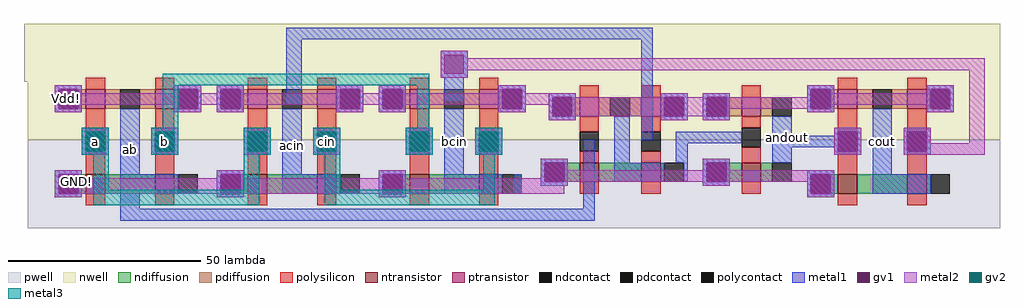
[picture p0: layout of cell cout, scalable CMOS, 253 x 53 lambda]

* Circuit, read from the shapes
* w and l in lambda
.subckt cout GND! Vdd! a ab acin andout b bcin cin
M1 n1 a GND! VSUBS nfet w=5 l=5
M2 ab b n1 VSUBS nfet w=5 l=5
M3 n2 a GND! VSUBS nfet w=5 l=5
M4 acin cin n2 VSUBS nfet w=5 l=5
M5 n3 b GND! VSUBS nfet w=5 l=5
M6 bcin cin n3 VSUBS nfet w=5 l=5
M7 n4 ab GND! VSUBS nfet w=5 l=5
M8 n5 acin n4 VSUBS nfet w=5 l=5
M9 andout n5 GND! VSUBS nfet w=5 l=5
M10 n6 andout GND! VSUBS nfet w=5 l=5
M11 nand2_3/out bcin n6 VSUBS nfet w=5 l=5
M12 ab a Vdd! n7 pfet w=5 l=5
M13 Vdd! b ab n7 pfet w=5 l=5
M14 acin a Vdd! n7 pfet w=5 l=5
M15 Vdd! cin acin n7 pfet w=5 l=5
M16 bcin b Vdd! n7 pfet w=5 l=5
M17 Vdd! cin bcin n7 pfet w=5 l=5
M18 n5 ab Vdd! n7 pfet w=5 l=5
M19 Vdd! acin n5 n7 pfet w=5 l=5
M20 andout n5 Vdd! n7 pfet w=5 l=5
M21 nand2_3/out andout Vdd! n7 pfet w=5 l=5
M22 Vdd! bcin nand2_3/out n7 pfet w=5 l=5
.ends

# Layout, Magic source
magic
tech scmos
<< nwell >>
rect -2 35 251 50
rect -1 24 251 35
rect -1 23 125 24
rect -1 20 124 23
rect 132 20 251 24
<< pwell >>
rect -1 11 124 20
rect 132 18 251 20
rect 131 16 251 18
rect -1 10 127 11
rect 129 10 251 16
rect -1 -3 251 10
<< metal1 >>
rect 66 46 161 49
rect 66 29 70 46
rect 106 36 113 43
rect 107 30 112 36
rect 24 15 27 20
rect 66 16 69 21
rect 108 17 111 22
rect 158 20 161 46
rect 195 21 197 23
rect 23 2 28 14
rect 125 6 127 11
rect 143 2 146 20
rect 194 18 211 21
rect 219 17 222 22
rect 23 -1 146 2
<< metal2 >>
rect 106 41 113 43
rect 106 38 247 41
rect 106 36 113 38
rect 6 28 12 33
rect 36 29 61 32
rect 79 29 104 32
rect 120 29 139 32
rect 175 28 207 31
rect 14 17 19 22
rect 31 16 38 23
rect 55 16 62 23
rect 73 16 80 23
rect 115 16 122 23
rect 243 19 247 38
rect 231 16 247 19
rect 7 10 13 11
rect 7 6 138 10
rect 176 9 208 12
<< gv1 >>
rect 107 37 112 42
<< metal3 >>
rect 34 34 103 37
rect 34 23 38 34
rect 100 23 103 34
rect 13 16 20 23
rect 31 16 38 23
rect 55 16 62 23
rect 73 16 80 23
rect 97 16 104 23
rect 115 16 122 23
rect 16 7 20 16
rect 55 7 59 16
rect 16 3 59 7
rect 76 7 80 16
rect 117 7 120 16
rect 76 3 120 7
<< gv2 >>
rect 14 17 19 22
rect 32 17 37 22
rect 56 17 61 22
rect 74 17 79 22
rect 98 17 103 22
rect 116 17 121 22
use nand2  nand2_3
transform 1 0 214 0 1 22
box -20 -22 30 16
use and2  and2_0
transform 1 0 147 0 1 22
box -21 -19 60 15
use nand2  nand2_0
transform 1 0 19 0 1 22
box -20 -22 30 16
use nand2  nand2_1
transform 1 0 61 0 1 22
box -20 -22 30 16
use nand2  nand2_2
transform 1 0 103 0 1 22
box -20 -22 30 16
<< labels >>
rlabel metal2 6 28 12 33 1 Vdd!
rlabel metal2 14 17 19 22 1 a
rlabel metal2 32 17 37 22 1 b
rlabel metal2 74 17 79 22 1 cin
rlabel metal1 24 15 27 20 1 ab
rlabel metal1 66 16 69 21 1 acin
rlabel metal1 108 17 111 22 1 bcin
rlabel metal2 10 7 13 11 1 GND!
rlabel metal1 195 18 197 23 1 andout
rlabel metal1 219 17 222 22 1 cout
<< end >>

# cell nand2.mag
magic
tech scmos
<< nwell >>
rect -20 -2 28 16
<< pwell >>
rect -20 -22 30 -2
<< ntransistor >>
rect -5 -16 0 -11
rect 13 -16 18 -11
<< ptransistor >>
rect -5 6 0 11
rect 13 6 18 11
<< ndiffusion >>
rect -7 -16 -5 -11
rect 0 -16 13 -11
rect 18 -16 19 -11
<< pdiffusion >>
rect -7 6 -5 11
rect 0 6 4 11
rect 9 6 13 11
rect 18 6 19 11
<< ndcontact >>
rect -12 -16 -7 -11
rect 19 -16 24 -11
<< pdcontact >>
rect -12 6 -7 11
rect 4 6 9 11
rect 19 6 24 11
<< polysilicon >>
rect -5 11 0 14
rect 13 11 18 14
rect -5 0 0 6
rect -5 -11 0 -5
rect 13 0 18 6
rect 13 -11 18 -5
rect -5 -19 0 -16
rect 13 -19 18 -16
<< polycontact >>
rect -5 -5 0 0
rect 13 -5 18 0
<< metal1 >>
rect -13 11 -6 12
rect 18 11 25 12
rect -13 6 -12 11
rect -7 6 -6 11
rect -13 5 -6 6
rect -6 0 1 1
rect -6 -5 -5 0
rect 0 -5 1 0
rect -6 -6 1 -5
rect -13 -11 -6 -10
rect -13 -16 -12 -11
rect -7 -16 -6 -11
rect 4 -11 9 6
rect 18 6 19 11
rect 24 6 25 11
rect 18 5 25 6
rect 12 0 19 1
rect 12 -5 13 0
rect 18 -5 19 0
rect 12 -6 19 -5
rect 4 -16 19 -11
rect -13 -17 -6 -16
<< metal2 >>
rect -13 10 -6 12
rect 18 10 25 12
rect -13 7 25 10
rect -13 5 -6 7
rect 18 5 25 7
rect -6 -6 1 1
rect 12 -6 19 1
rect -13 -17 -6 -10
<< gv1 >>
rect -12 6 -7 11
rect 19 6 24 11
rect -5 -5 0 0
rect 13 -5 18 0
rect -12 -16 -7 -11
<< labels >>
rlabel pdcontact -10 8 -9 9 1 Vdd!
rlabel polycontact -3 -3 -2 -2 1 a
rlabel gv1 -11 -14 -9 -13 1 GND!
rlabel metal1 6 -3 7 -2 1 out
rlabel polycontact 15 -3 16 -2 1 b
<< end >>

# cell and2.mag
magic
tech scmos
<< nwell >>
rect -21 -2 60 15
<< pwell >>
rect -21 -19 60 -2
<< ntransistor >>
rect -5 -13 0 -8
rect 11 -13 16 -8
rect 37 -13 42 -8
<< ptransistor >>
rect -5 4 0 9
rect 11 4 16 9
rect 37 4 42 9
<< ndiffusion >>
rect -9 -13 -5 -8
rect 0 -13 11 -8
rect 16 -13 17 -8
rect 33 -13 37 -8
rect 42 -13 45 -8
<< pdiffusion >>
rect -7 4 -5 9
rect 0 4 3 9
rect 8 4 11 9
rect 16 4 17 9
rect 33 4 37 9
rect 42 4 45 9
<< ndcontact >>
rect -14 -13 -9 -8
rect 17 -13 22 -8
rect 28 -13 33 -8
rect 45 -13 50 -8
<< pdcontact >>
rect -12 4 -7 9
rect 3 4 8 9
rect 17 4 22 9
rect 28 4 33 9
rect 45 4 50 9
<< polysilicon >>
rect -5 9 0 12
rect 11 9 16 12
rect 37 9 42 12
rect -5 0 0 4
rect -5 -8 0 -5
rect 11 0 16 4
rect 11 -8 16 -5
rect 37 1 42 4
rect 37 -8 42 -4
rect -5 -16 0 -13
rect 11 -16 16 -13
rect 37 -16 42 -13
<< polycontact >>
rect -5 -5 0 0
rect 11 -5 16 0
rect 37 -4 42 1
<< metal1 >>
rect -13 9 -6 10
rect 16 9 23 10
rect -13 4 -12 9
rect -7 4 -6 9
rect -13 3 -6 4
rect -15 -8 -8 -7
rect -15 -13 -14 -8
rect -9 -13 -8 -8
rect 4 -8 8 4
rect 16 4 17 9
rect 22 4 23 9
rect 16 3 23 4
rect 27 9 34 10
rect 27 4 28 9
rect 33 4 34 9
rect 27 3 34 4
rect 20 -3 37 0
rect 20 -8 23 -3
rect 4 -13 17 -8
rect 22 -13 23 -8
rect 27 -8 34 -7
rect 27 -13 28 -8
rect 33 -13 34 -8
rect 45 -8 50 4
rect -15 -14 -8 -13
rect 27 -14 34 -13
<< metal2 >>
rect -13 9 -6 10
rect 16 9 23 10
rect 27 9 34 10
rect -13 4 34 9
rect -13 3 -6 4
rect 16 3 23 4
rect 27 3 34 4
rect -15 -10 -8 -7
rect 27 -10 34 -7
rect -15 -13 34 -10
rect -15 -14 -8 -13
rect 27 -14 34 -13
<< gv1 >>
rect -12 4 -7 9
rect 17 4 22 9
rect 28 4 33 9
rect -14 -13 -9 -8
rect 28 -13 33 -8
<< labels >>
rlabel pdcontact -10 6 -9 7 1 Vdd!
rlabel polycontact -3 -3 -2 -2 1 a
rlabel polycontact 13 -3 14 -2 1 b
rlabel metal1 47 -2 49 -1 1 out
rlabel ndcontact -12 -11 -11 -10 1 GND!
<< end >>
